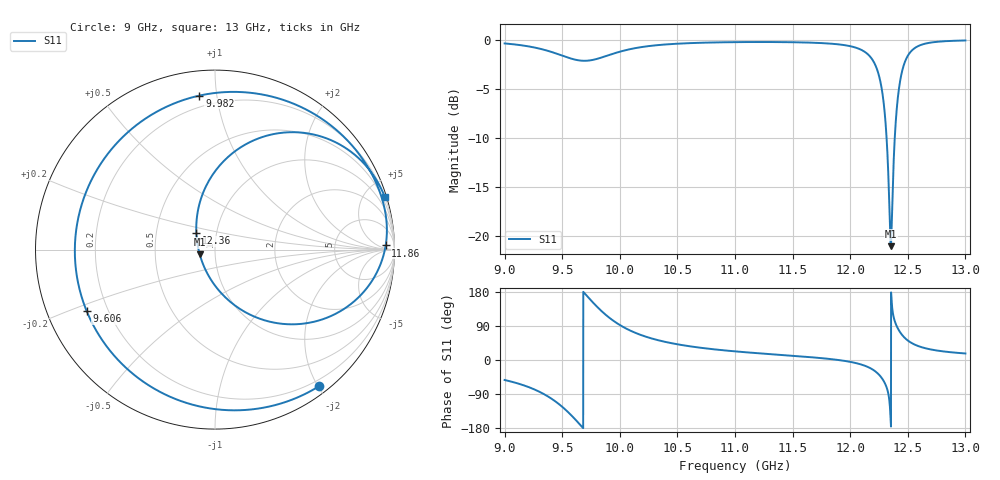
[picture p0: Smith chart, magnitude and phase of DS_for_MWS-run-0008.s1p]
! TOUCHSTONE file generated by CST DESIGN STUDIO
! Date and time: Tue Feb  4 13:41:09 2025
! Project name: C:\Work\MatlabApps\UnitCellOptimizationMatlab\CST\unitcell.cst
! Tree item: Tasks\Sweep1\SPara1\S-Parameters
! Header version: 2024
! Port assignment regex: !\s*Touchstone port\s*([0-9]+)\s*=\s*(CST MWS port|CST DES external port|CST DES block port)\s*(.+)\s* \(\"(.*)\"\)(\s*mode\s*([0-9]+))?.*
! Touchstone port assignment:
! Touchstone port 1 = CST DES external port 1 ("")
# GHz S MA R 50
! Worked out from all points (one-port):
!   4001 points, 9 GHz to 13 GHz, reference 50 ohm
!   lowest |S11| = -21.0 dB at 12.35 GHz (marker M1), VSWR 1.20, Z = 42.1 - j2.22 ohm
!   |S11| at or under -10 dB: 12.32 GHz to 12.39 GHz (70.85 MHz wide, 0.574 % of centre)
!   S11 on the Smith chart (normalised r, x): 9 GHz: 0.11, -2.01; 9.606 GHz: 0.12, -0.22; 9.982 GHz: 0.13, +0.89; 11.86 GHz: 32, +16; 12.36 GHz: 0.80, +0.15; 13 GHz: 0.21, +6.59
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9  0.9566 -52.7
9.166  0.9326 -66.8
9.319  0.8957 -86.4
9.5  0.8297 -123.5
9.606  0.7928 -154.4
9.68  0.7811 -179.1
9.754  0.7866 155.9
9.866  0.82 122.4
9.982  0.8624 95.8
10  0.8684 92.4
10.222  0.9228 61.9
10.5  0.9538 41.5
11  0.9714 22.8
11.5  0.9703 11.1
11.861  0.9512 1.4
12  0.9265 -4.9
12.157  0.8388 -18.9
12.253  0.645 -39.7
12.302  0.4096 -61.9
12.34  0.1406 -107.4
12.352  0.08909 -163.0
12.364  0.1382 138.7
12.39  0.3413 99.8
12.414  0.5091 83.1
12.451  0.693 66.0
12.5  0.8279 51.5
12.662  0.9575 30.3
13  0.9907 17.3
